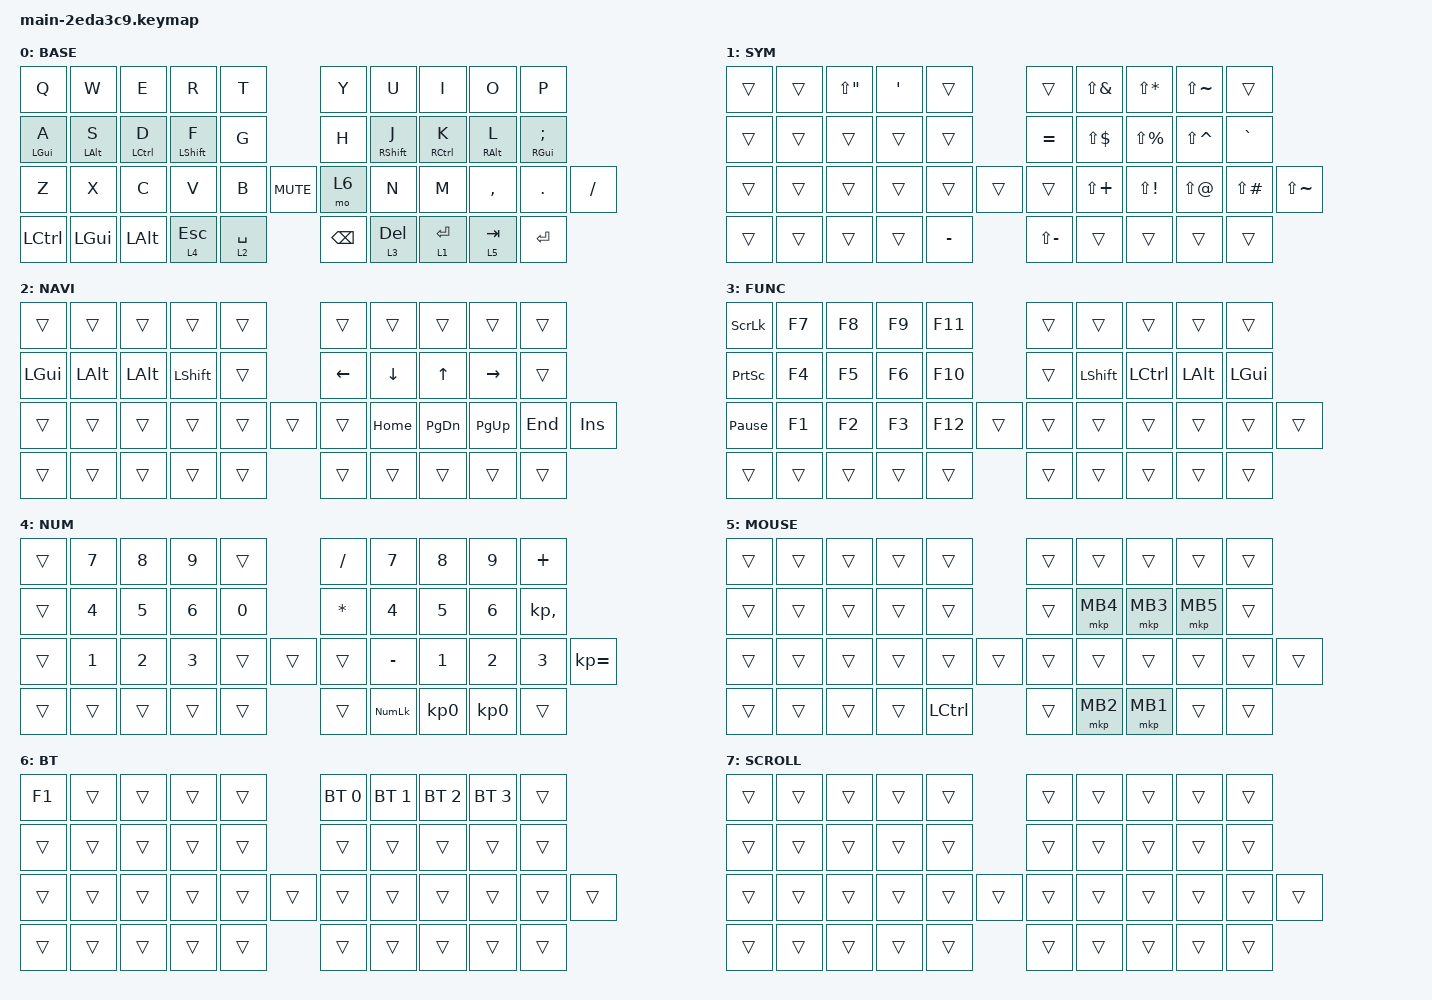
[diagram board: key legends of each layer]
/*
 * SPDX-License-Identifier: MIT
 * TOTEM master b4b2073: 38 keys mapped to Voltball; Totem layer numbering; main mouse/BT/scroll retained.
 */

#include <input/processors.dtsi>
#include <dt-bindings/zmk/input_transform.h>
#include <zephyr/dt-bindings/input/input-event-codes.h>
#include <behaviors.dtsi>
#include <dt-bindings/zmk/keys.h>
#include <dt-bindings/zmk/bt.h>
#include <dt-bindings/zmk/pointing.h>

&mt {
    quick-tap-ms = <185>;
    flavor = "tap-preferred";
    tapping-term-ms = <200>;
};

&lt { quick-tap-ms = <185>; };

/ {
    combos {
        compatible = "zmk,combos";

        c1 {
            bindings = <&kp LBKT>;
            key-positions = <3 2>;
            timeout-ms = <20>;
        };

        c2 {
            bindings = <&kp RBKT>;
            key-positions = <6 7>;
            timeout-ms = <20>;
        };

        c3 {
            bindings = <&kp LPAR>;
            key-positions = <13 12>;
            timeout-ms = <20>;
        };

        c4 {
            bindings = <&kp RPAR>;
            key-positions = <16 17>;
            timeout-ms = <20>;
        };

        c5 {
            bindings = <&kp LBRC>;
            key-positions = <23 22>;
            timeout-ms = <20>;
        };

        c6 {
            bindings = <&kp RBRC>;
            key-positions = <28 29>;
            timeout-ms = <20>;
        };

        c7 {
            bindings = <&kp BSLH>;
            key-positions = <4 5>;
            timeout-ms = <20>;
        };

        c8 {
            bindings = <&kp PIPE>;
            key-positions = <14 15>;
            timeout-ms = <20>;
        };

        c9 {
            bindings = <&kp TAB>;
            key-positions = <18 17>;
            timeout-ms = <20>;
        };

        combo10 {
            bindings = <&mo 7>;
            key-positions = <11 12>;
        };
    };

    keymap {
        compatible = "zmk,keymap";

        base_layer {
            display-name = "BASE";
            bindings = <
                &kp Q  &kp W  &kp E  &kp R  &kp T  &kp Y  &kp U  &kp I  &kp O  &kp P
                &mt LGUI A  &mt LALT S  &mt LCTRL D  &mt LSHFT F  &kp G  &kp H  &mt RSHFT J  &mt RCTRL K  &mt RALT L  &mt RGUI SEMICOLON
                &kp Z  &kp X  &kp C  &kp V  &kp B  &kp C_MUTE  &mo 6  &kp N  &kp M  &kp COMMA  &kp DOT  &kp FSLH
                &kp LCTRL  &kp LGUI  &kp LALT  &lt 4 ESC  &lt 2 SPACE  &kp BACKSPACE  &lt 3 DEL  &lt 1 ENTER  &lt 5 TAB  &kp ENTER
            >;
        };

        sym_layer {
            display-name = "SYM";
            bindings = <
                &trans  &trans  &kp LS(DQT)  &kp APOS  &trans  &trans  &kp LS(AMPS)  &kp LS(STAR)  &kp LS(TILDE)  &trans
                &trans  &trans  &trans  &trans  &trans  &kp EQUAL  &kp LS(DLLR)  &kp LS(PRCNT)  &kp LS(CARET)  &kp GRAVE
                &trans  &trans  &trans  &trans  &trans  &trans  &trans  &kp LS(PLUS)  &kp LS(EXCL)  &kp LS(AT)  &kp LS(POUND)  &kp LS(TILDE)
                &trans  &trans  &trans  &trans  &kp MINUS  &kp LS(MINUS)  &trans  &trans  &trans  &trans
            >;
        };

        nav_layer {
            display-name = "NAVI";
            bindings = <
                &trans  &trans  &trans  &trans  &trans  &trans  &trans  &trans  &trans  &trans
                &kp LGUI  &kp LALT  &kp LALT  &kp LSHFT  &trans  &kp LEFT  &kp DOWN  &kp UP  &kp RIGHT  &trans
                &trans  &trans  &trans  &trans  &trans  &trans  &trans  &kp HOME  &kp PG_DN  &kp PG_UP  &kp END  &kp INSERT
                &trans  &trans  &trans  &trans  &trans  &trans  &trans  &trans  &trans  &trans
            >;
        };

        function_layer {
            display-name = "FUNC";
            bindings = <
                &kp SCROLLLOCK  &kp F7  &kp F8  &kp F9  &kp F11  &trans  &trans  &trans  &trans  &trans
                &kp PRINTSCREEN  &kp F4  &kp F5  &kp F6  &kp F10  &trans  &kp LEFT_SHIFT  &kp LCTRL  &kp LEFT_ALT  &kp LGUI
                &kp PAUSE_BREAK  &kp F1  &kp F2  &kp F3  &kp F12  &trans  &trans  &trans  &trans  &trans  &trans  &trans
                &trans  &trans  &trans  &trans  &trans  &trans  &trans  &trans  &trans  &trans
            >;
        };

        number_layer {
            display-name = "NUM";
            bindings = <
                &trans  &kp N7  &kp N8  &kp N9  &trans  &kp FSLH  &kp N7  &kp N8  &kp N9  &kp PLUS
                &trans  &kp N4  &kp N5  &kp N6  &kp NUMBER_0  &kp STAR  &kp N4  &kp N5  &kp N6  &kp KP_COMMA
                &trans  &kp N1  &kp N2  &kp N3  &trans  &trans  &trans  &kp MINUS  &kp N1  &kp N2  &kp N3  &kp KP_EQUAL
                &trans  &trans  &trans  &trans  &trans  &trans  &kp KP_NUMLOCK  &kp KP_NUMBER_0  &kp KP_NUMBER_0  &trans
            >;
        };

        MOUSE {
            bindings = <
&trans  &trans  &trans  &trans  &trans                           &trans    &trans    &trans    &trans    &trans
&trans  &trans  &trans  &trans  &trans                           &trans    &mkp MB4  &mkp MB3  &mkp MB5  &trans
&trans  &trans  &trans  &trans  &trans     &trans      &trans    &trans    &trans    &trans    &trans    &trans
&trans  &trans  &trans  &trans  &kp LCTRL  &trans      &mkp MB2  &mkp MB1                      &trans    &trans
            >;

            display-name = "MOUSE";
        };

        BT {
            bindings = <
&kp F1  &trans  &trans  &trans  &trans                      &bt BT_SEL 0  &bt BT_SEL 1  &bt BT_SEL 2  &bt BT_SEL 3  &trans
&trans  &trans  &trans  &trans  &trans                      &trans        &trans        &trans        &trans        &trans
&trans  &trans  &trans  &trans  &trans  &trans      &trans  &trans        &trans        &trans        &trans        &trans
&trans  &trans  &trans  &trans  &trans  &trans      &trans  &trans                                    &trans        &trans
            >;

            display-name = "BT";
        };

        SCROLL {
            bindings = <
&trans  &trans  &trans  &trans  &trans                      &trans  &trans  &trans  &trans  &trans
&trans  &trans  &trans  &trans  &trans                      &trans  &trans  &trans  &trans  &trans
&trans  &trans  &trans  &trans  &trans  &trans      &trans  &trans  &trans  &trans  &trans  &trans
&trans  &trans  &trans  &trans  &trans  &trans      &trans  &trans                  &trans  &trans
            >;
        };
    };
};
